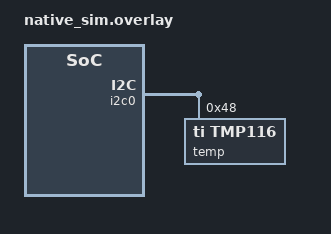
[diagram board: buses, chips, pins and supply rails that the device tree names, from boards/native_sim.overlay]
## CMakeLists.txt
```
cmake_minimum_required(VERSION 3.20.0)
set(KCONFIG_ROOT ${CMAKE_CURRENT_SOURCE_DIR}/../../Kconfig)
find_package(Zephyr REQUIRED HINTS $ENV{ZEPHYR_BASE})
project(fsm_nvs_test)

# Add the main project's include directories
target_include_directories(app PRIVATE ../../include)

# Add the main project's source files directly
target_sources(app PRIVATE 
    ../../src/ui_actions.c
    ../../src/ui_simple.c
    ../../src/ui_advanced.c
    ../../lib/fsm_engine.c
    ../../lib/nvs_manager.c
    ../../lib/thermal_manager.c

    # We do NOT include main.c as the test has its own main
    # We do NOT include multi_tap_input.c unless needed for linking, 
    # but fsm_engine might depend on it.
    ../../lib/multi_tap_input.c
)

target_sources(app PRIVATE src/main.c) 
```

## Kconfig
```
source "Kconfig.zephyr"
rsource "../../Kconfig"
```

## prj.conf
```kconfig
CONFIG_ZTEST=y
CONFIG_LOG=y
CONFIG_ZBEAM_NVS_ENABLED=y
CONFIG_ZBEAM_MAX_NAV_SLOTS=10
CONFIG_ZBEAM_THERMAL_LIMIT_DEFAULT=45
CONFIG_ZBEAM_PID_KP=50
CONFIG_ZBEAM_PID_KI=2
CONFIG_ZBEAM_PID_KD=100
CONFIG_REBOOT=y
```

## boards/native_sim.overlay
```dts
&i2c0 {
    status = "okay";
    temp: tmp116@48 {
        compatible = "ti,tmp116";
        reg = <0x48>;
        status = "okay";
    };
};

/ {
    aliases {
        temp = &temp;
    };
};
```

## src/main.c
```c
#include <zephyr/ztest.h>
#include <zephyr/logging/log.h>
#include "nvs_manager.h"
#include "key_map.h"

LOG_MODULE_REGISTER(Test_FSM_NVS, LOG_LEVEL_INF);

// Suite setup
static void *setup(void)
{
    int rc = nvs_init_fs();
    zassert_equal(rc, 0, "NVS Init failed");
    key_map_init();
    return NULL;
}

ZTEST_SUITE(fsm_nvs_suite, NULL, setup, NULL, NULL, NULL);

ZTEST(fsm_nvs_suite, test_01_defaults_load)
{
    // 1. Ensure we start fresh or load known defaults
    // Since we can't easily wipe the emulator file from code efficiently without re-init,
    // we assume the test runner might be clean or we just verify structure.
    
    // Check OFF node defaults from key_map.c
    // [0] -> NODE_ON
    struct fsm_node *off = all_nodes[NODE_OFF];
    zassert_not_null(off, "Off node is null");
    zassert_equal(off->id, NODE_OFF, "ID Mismatch");
    
    // By default compile time: click[0] should be NODE_RAMP
    struct fsm_node *target = off->click_map[0];
    zassert_not_null(target, "Default target is null");
    zassert_equal(target->id, NODE_RAMP, "Default target is not RAMP");
}

ZTEST(fsm_nvs_suite, test_02_save_and_restore)
{
    struct fsm_node *off = all_nodes[NODE_OFF];
    
    // 1. Create a modified config
    struct node_config_data new_config = {0};
    
    // Preserve timeout
    new_config.timeout_ms = off->timeout_ms;
    
    // Change: 1 click (index 0) -> STROBE (instead of ON)
    new_config.target_click_ids[0] = NODE_STROBE;
    // Set others to invalid/null
    for(int i=1; i<MAX_NAV_SLOTS; i++) new_config.target_click_ids[i] = NODE_COUNT;
    for(int i=0; i<MAX_NAV_SLOTS; i++) new_config.target_hold_ids[i] = NODE_COUNT;

    // 2. Save it
    nvs_save_node_config(NODE_OFF, &new_config);
    
    // 3. Corrupt the RAM pointer to prove reload works
    off->click_map[0] = NULL;
    
    // 4. Reload from NVS
    nvs_load_runtime_config();
    
    // 5. Verify restoration
    struct fsm_node *restored_target = off->click_map[0];
    zassert_not_null(restored_target, "Failed to restore pointer");
    zassert_equal(restored_target->id, NODE_STROBE, "Failed to restore correct ID (Strobe)");
    
    LOG_INF("Test Verify: OFF[0] points to %s", restored_target->name);
}

ZTEST(fsm_nvs_suite, test_03_system_config_defaults)
{
    // Wipe system config to test defaults
    nvs_wipe_all();
    
    struct system_config config;
    int rc = nvs_load_system_config(&config);
    zassert_not_equal(rc, 0, "Should handle missing config");

    // In main application logic, failing to load falls back to Kconfig.
    // Here we verify that constants are available.
    zassert_equal(CONFIG_ZBEAM_CLICK_TIMEOUT_MS, 400, "Default Click Timeout Wrong");
    zassert_equal(CONFIG_ZBEAM_HOLD_DURATION_MS, 500, "Default Hold Duration Wrong");
}

ZTEST(fsm_nvs_suite, test_04_system_config_update)
{
    struct system_config new_cfg = {
        .click_timeout_ms = 800,
        .hold_duration_ms = 1200,
        .monitor_key_code = 45
    };
    
    nvs_save_system_config(&new_cfg);
    
    struct system_config loaded_cfg = {0};
    int rc = nvs_load_system_config(&loaded_cfg);
    
    zassert_equal(rc, 0, "Failed to load system config");
    zassert_equal(loaded_cfg.click_timeout_ms, 800, "Click Timeout Check Failed");
    zassert_equal(loaded_cfg.hold_duration_ms, 1200, "Hold Duration Check Failed");
}

ZTEST(fsm_nvs_suite, test_05_factory_reset)
{
    // 1. Set up a non-default state
    struct fsm_node *off = all_nodes[NODE_OFF];
    struct node_config_data new_config = {0};
    // Map click[0] to STROBE
    new_config.target_click_ids[0] = NODE_STROBE; 
    
    nvs_save_node_config(NODE_OFF, &new_config);
    
    // Save system config too
    struct system_config sys_cfg = {.click_timeout_ms = 999};
    nvs_save_system_config(&sys_cfg);
    
    // 2. Perform Wipe (Simulation of Factory Reset routine)
    nvs_wipe_all();
    
    // 3. Verify System Config is gone
    struct system_config loaded_sys;
    zassert_not_equal(nvs_load_system_config(&loaded_sys), 0, "System config should be wiped");
    
    // 4. Verify Node Config is gone (Simulate reload logic)
    // Attempt to read from NVS should fail, so we'd normally keep defaults.
    // We can check if the underlying NVS read fails for node 0.
    // But since nvs_load_runtime_config() logic is "if read succeeds, update",
    // we should manually clear the RAM pointer first to prove it DOESN'T get updated to Strobe.
    
    off->click_map[0] = NULL; // Clear it
    
    // We expect this load to look at NVS, find nothing, and do nothing (leaving it NULL)
    // Wait, nvs_load_runtime_config relies on NVS being present.
    // If NVS is wiped, nvs_load_runtime_config will just skip everything.
    // So the pointer remains NULL.
    // BUT, in a real reboot, the code starts with static defaults.
    // So let's simulate that by resetting the pointer to "ON" (default)
    off->click_map[0] = all_nodes[NODE_ON];
    
    nvs_load_runtime_config();
    
    // It should STILL be ON. If NVS wasn't wiped, it would have loaded STROBE.
    zassert_equal(off->click_map[0]->id, NODE_ON, "Should be default ON, not Strobe");
}

ZTEST(fsm_nvs_suite, test_06_callback_exec)
{
    struct fsm_node *ramp = all_nodes[NODE_RAMP];
    zassert_not_null(ramp, "RAMP node not found");
    
    // 1. Verify callbacks are wired up
    zassert_not_null(ramp->hold_callbacks[0], "1-hold callback missing");
    zassert_not_null(ramp->hold_callbacks[1], "2-hold callback missing");
    zassert_not_null(ramp->release_callback, "release callback missing");
    
    // 2. Initialize FSM at RAMP node
    fsm_init(ramp);
    struct fsm_node *initial = fsm_get_current_node();
    zassert_equal(initial->id, NODE_RAMP, "Should start in RAMP");
    
    // 3. Call hold callback - should return NULL (stay in state, start timer)
    struct fsm_node *next = ramp->hold_callbacks[0](ramp);
    zassert_is_null(next, "Hold callback should return NULL to stay in state");
    
    // 4. Wait briefly and verify we're STILL in RAMP (timer running, not transitioned yet)
    k_msleep(30); // Less than one ramp step (50ms)
    struct fsm_node *curr = fsm_get_current_node();
    zassert_equal(curr->id, NODE_RAMP, "Should still be in RAMP while ramping");
    
    // 5. Release and verify cleanup
    struct fsm_node *release_result = ramp->release_callback(ramp);
    zassert_is_null(release_result, "Release should return NULL");
    
    // 6. Transition to OFF to reset state
    fsm_transition_to(all_nodes[NODE_OFF]);
}

ZTEST(fsm_nvs_suite, test_07_blink_limit)
{
    struct fsm_node *ramp = all_nodes[NODE_RAMP];
    fsm_init(ramp); // Start at RAMP
    
    // Start Ramp Up
    ramp->hold_callbacks[0](ramp);
    
    // Wait for ramp to hit limit and transition to BLINK
    // Max index is ~5, interval 50ms. Should take ~250ms.
    // Wait up to 1s.
    bool found_blink = false;
    for(int i=0; i<20; i++) {
        k_msleep(50);
        struct fsm_node *curr = fsm_get_current_node();
        if (curr && curr->id == NODE_BLINK) {
            found_blink = true;
            break;
        }
    }
    
    zassert_true(found_blink, "Should hit limit and transition to BLINK node via timer");
    
    // Cleanup: Transition to OFF to stop any active timers from BLINK node
    // BLINK has a return timeout, which might fire during next test init.
    struct fsm_node *off = all_nodes[NODE_OFF];
    fsm_transition_to(off);
    k_msleep(10); // Give it a tick to stop timer
}

ZTEST(fsm_nvs_suite, test_10_sweep_node)
{
    struct fsm_node *sweep = all_nodes[NODE_SWEEP];
    zassert_not_null(sweep, "SWEEP node not found");
    zassert_not_null(sweep->hold_callbacks[0], "Sweep hold callback missing");
    zassert_not_null(sweep->release_callback, "Sweep release callback missing");
    
    // 1. Initialize at SWEEP node
    fsm_init(sweep);
    struct fsm_node *initial = fsm_get_current_node();
    zassert_equal(initial->id, NODE_SWEEP, "Should start in SWEEP");
    
    // 2. Start Sweep (Hold) - should return NULL and start timer
    struct fsm_node *next = sweep->hold_callbacks[0](sweep);
    zassert_is_null(next, "Sweep hold should return NULL");
    
    // 3. Wait long enough for multiple timer ticks to prove cycling works
    // Sweep speed is CONFIG_ZBEAM_SWEEP_SPEED_MS (default 10ms)
    // Wait 100ms = ~10 ticks through the sine LUT
    k_msleep(100);
    
    // 4. We're still in SWEEP (no automatic transition out of sweep)
    struct fsm_node *during = fsm_get_current_node();
    zassert_equal(during->id, NODE_SWEEP, "Should still be in SWEEP during sweep");
    
    // 5. Release (Lock) - stops timer, syncs index
    struct fsm_node *release_result = sweep->release_callback(sweep);
    zassert_is_null(release_result, "Release should return NULL");
    
    // 6. Verify we're STILL in Sweep node after release (lock behavior)
    struct fsm_node *after = fsm_get_current_node();
    zassert_equal(after->id, NODE_SWEEP, "Should stay in Sweep node after release");
    
    // 7. Cleanup: Transition to OFF
    fsm_transition_to(all_nodes[NODE_OFF]);
}

/**
 * @brief Test ramping DOWN to minimum triggers BLINK.
 */
ZTEST(fsm_nvs_suite, test_11_down_ramp_limit)
{
    struct fsm_node *ramp = all_nodes[NODE_RAMP];
    fsm_init(ramp);
    
    // Start Ramp DOWN (2-hold)
    ramp->hold_callbacks[1](ramp);
    
    // Wait for ramp to hit min limit
    bool found_blink = false;
    for(int i=0; i<20; i++) {
        k_msleep(CONFIG_ZBEAM_RAMP_STEP_MS);
        struct fsm_node *curr = fsm_get_current_node();
        if (curr && curr->id == NODE_BLINK) {
            found_blink = true;
            break;
        }
    }
    
    zassert_true(found_blink, "Should hit min limit and transition to BLINK");
    fsm_transition_to(all_nodes[NODE_OFF]);
}

/**
 * @brief Test PWM accessor returns correct value.
 */
ZTEST(fsm_nvs_suite, test_12_pwm_accessor)
{
    // Re-initialize to reset PWM index
    key_map_init();
    
    // Get initial PWM (should be first level = 1)
    uint8_t pwm = key_map_get_current_pwm();
    zassert_equal(pwm, 1, "Initial PWM should be 1 (first level)");
    
    // Start ramp, wait for one step
    struct fsm_node *ramp = all_nodes[NODE_RAMP];
    fsm_init(ramp);
    ramp->hold_callbacks[0](ramp); // Ramp up
    k_msleep(CONFIG_ZBEAM_RAMP_STEP_MS + 10);
    ramp->release_callback(ramp);
    
    // PWM should have increased
    uint8_t pwm_after = key_map_get_current_pwm();
    zassert_true(pwm_after > pwm, "PWM should increase after ramping");
    
    fsm_transition_to(all_nodes[NODE_OFF]);
}
```

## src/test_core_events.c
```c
#include <zephyr/ztest.h>
#include <zephyr/logging/log.h>
#include "fsm_engine.h"
#include "multi_tap_input.h"

LOG_MODULE_REGISTER(Test_Core_Events, LOG_LEVEL_INF);

// --- MOCK CALLBACKS ---
static bool cb_hold_start_fired = false;
static bool cb_release_fired = false;
static struct fsm_node *last_callback_node = NULL;

static struct fsm_node *cb_test_hold(struct fsm_node *self) {
    cb_hold_start_fired = true;
    last_callback_node = self;
    return NULL; // Stay in node
}

static struct fsm_node *cb_test_release(struct fsm_node *self) {
    cb_release_fired = true;
    last_callback_node = self;
    return NULL; // Stay
}

// --- TEST FIXTURE ---
static struct fsm_node test_node = {
    .id = 99,
    .name = "TEST_NODE",
    .action_routine = NULL,
    .timeout_ms = 0,
    .hold_callbacks = {
        [0] = cb_test_hold, // 1 Hold
    },
    .release_callback = cb_test_release
};

static void reset_flags(void) {
    cb_hold_start_fired = false;
    cb_release_fired = false;
    last_callback_node = NULL;
}

// --- TESTS ---

ZTEST(fsm_nvs_suite, test_08_core_hold_event)
{
    reset_flags();
    
    // Manually inject a HOLD_START event to the FSM Engine
    struct multi_tap_input_action action = {
        .count = 1,
        .type = MULTI_TAP_EVENT_HOLD_START
    };
    
    // Manually set current node (normally FSM manages this)
    // We need to bypass fsm_init for this micro-test or ensure fsm_engine sees this node.
    // Hack: We can temporarily swap the 'current_node' by just initializing FSM with it?
    // fsm_init sets current_node.
    fsm_init(&test_node);
    
    fsm_process_input(&action);
    
    zassert_true(cb_hold_start_fired, "HOLD_START callback did not fire");
    zassert_equal(last_callback_node, &test_node, "Callback received wrong node ptr");
    zassert_false(cb_release_fired, "Release callback fired prematurely");
}

ZTEST(fsm_nvs_suite, test_09_core_release_event)
{
    reset_flags();
    fsm_init(&test_node);
    
    struct multi_tap_input_action action = {
        .count = 1,
        .type = MULTI_TAP_EVENT_HOLD_RELEASE
    };
    
    fsm_process_input(&action);
    
    zassert_true(cb_release_fired, "HOLD_RELEASE callback did not fire");
    zassert_false(cb_hold_start_fired, "Hold Start fired on Release event");
}
```

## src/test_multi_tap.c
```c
#include <zephyr/ztest.h>
#include <zephyr/logging/log.h>
#include "multi_tap_input.h"

LOG_MODULE_REGISTER(Test_MultiTap, LOG_LEVEL_INF);

// --- MOCK HANDLER ---
static struct multi_tap_input_action last_action = {0};
static int action_count = 0;

static void mock_handler(const struct multi_tap_input_action *action) {
    last_action = *action;
    action_count++;
    LOG_INF("Mock Handler: count=%d, type=%d", action->count, action->type);
}

static void reset_mock(void) {
    last_action.count = 0;
    last_action.type = 0;
    action_count = 0;
}

// --- TESTS ---

/**
 * @brief Test single tap sequence.
 */
ZTEST(fsm_nvs_suite, test_13_single_tap)
{
    reset_mock();
    multi_tap_input_init(mock_handler);
    
    // Simulate: Press -> Release -> Wait for timeout
    multi_tap_input_process_key(1); // Press
    k_msleep(50);                   // Short press
    multi_tap_input_process_key(0); // Release
    
    // Wait for click timeout to finalize
    k_msleep(CONFIG_ZBEAM_CLICK_TIMEOUT_MS + 50);
    
    zassert_equal(action_count, 1, "Should fire one action");
    zassert_equal(last_action.count, 1, "Should be 1 tap");
    zassert_equal(last_action.type, MULTI_TAP_EVENT_TAP, "Should be TAP event");
}

/**
 * @brief Test double tap sequence.
 */
ZTEST(fsm_nvs_suite, test_14_double_tap)
{
    reset_mock();
    multi_tap_input_init(mock_handler);
    
    // First tap
    multi_tap_input_process_key(1);
    k_msleep(50);
    multi_tap_input_process_key(0);
    
    // Quick second tap (before timeout)
    k_msleep(100);
    multi_tap_input_process_key(1);
    k_msleep(50);
    multi_tap_input_process_key(0);
    
    // Wait for timeout
    k_msleep(CONFIG_ZBEAM_CLICK_TIMEOUT_MS + 50);
    
    zassert_equal(action_count, 1, "Should fire one action (combined)");
    zassert_equal(last_action.count, 2, "Should be 2 taps");
    zassert_equal(last_action.type, MULTI_TAP_EVENT_TAP, "Should be TAP event");
}

/**
 * @brief Test hold generates HOLD_START then HOLD_RELEASE.
 */
ZTEST(fsm_nvs_suite, test_15_hold_events)
{
    reset_mock();
    multi_tap_input_init(mock_handler);
    
    // Press and hold past threshold
    multi_tap_input_process_key(1);
    k_msleep(CONFIG_ZBEAM_HOLD_DURATION_MS + 50);
    
    // Should have fired HOLD_START
    zassert_equal(action_count, 1, "Should fire HOLD_START");
    zassert_equal(last_action.type, MULTI_TAP_EVENT_HOLD_START, "Should be HOLD_START");
    
    // Release
    multi_tap_input_process_key(0);
    
    // Should fire HOLD_RELEASE
    zassert_equal(action_count, 2, "Should fire HOLD_RELEASE");
    zassert_equal(last_action.type, MULTI_TAP_EVENT_HOLD_RELEASE, "Should be HOLD_RELEASE");
}
```
